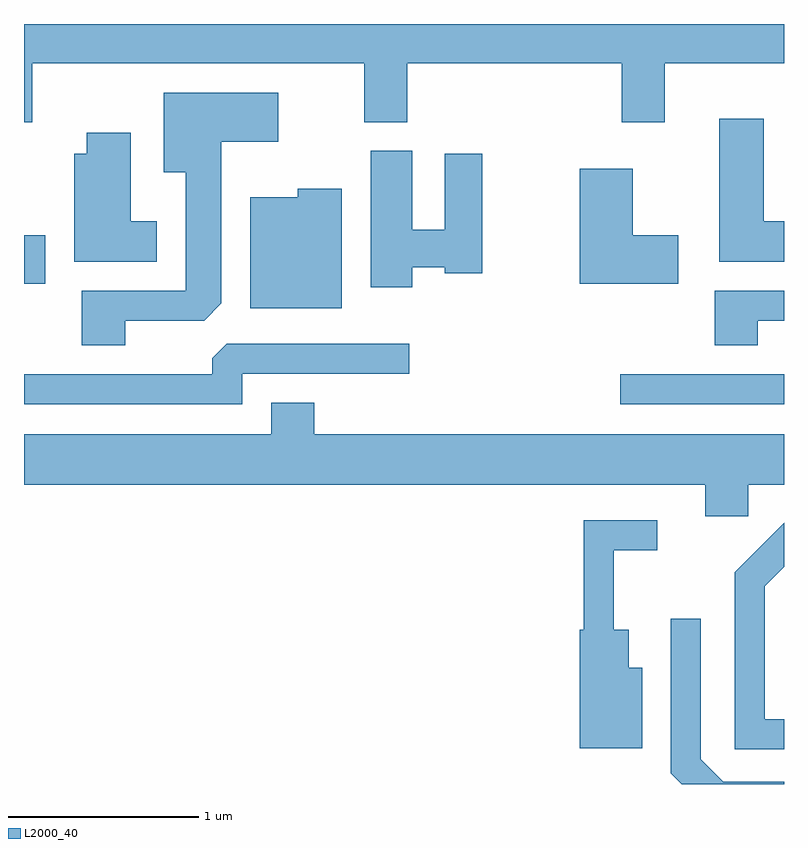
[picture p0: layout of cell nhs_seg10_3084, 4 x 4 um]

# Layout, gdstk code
import gdstk
lib = gdstk.Library(unit=1e-6, precision=1e-09)
def R(c, l, rs):  # rectangles x0, y0, x1, y1
    for r in rs: c.add(gdstk.rectangle(r[:2], r[2:], *l))
def P(c, l, *ps):  # polygons
    for p in ps: c.add(gdstk.Polygon(p, *l))
L2000_40 = (2000, 40)

nhs_seg10_3084 = lib.new_cell('nhs_seg10_3084')
R(nhs_seg10_3084, L2000_40, [(278.748,2156.521,279.611,2156.679), (275.611,2157.156,275.724,2157.409)])
P(nhs_seg10_3084, L2000_40, [(275.654,2158.316),(277.401,2158.316),(277.401,2158.006),(277.629,2158.006),(277.629,2158.316),(278.756,2158.316),(278.756,2158.006),(278.984,2158.006),(278.984,2158.316),(279.611,2158.316),(279.611,2158.522),(275.611,2158.522),(275.611,2158.006),(275.654,2158.006)],
  [(276.144,2156.961),(276.559,2156.961),(276.649,2157.052),(276.649,2157.901),(276.949,2157.901),(276.949,2158.159),(276.346,2158.159),(276.346,2157.741),(276.461,2157.741),(276.461,2157.119),(275.916,2157.119),(275.916,2156.831),(276.144,2156.831)],
  [(279.611,2157.484),(279.504,2157.484),(279.504,2158.024),(279.271,2158.024),(279.271,2157.271),(279.611,2157.271)],
  [(276.309,2157.484),(276.174,2157.484),(276.174,2157.949),(275.941,2157.949),(275.941,2157.839),(275.876,2157.839),(275.876,2157.271),(276.309,2157.271)],
  [(277.654,2157.241),(277.826,2157.241),(277.826,2157.211),(278.024,2157.211),(278.024,2157.839),(277.826,2157.839),(277.826,2157.439),(277.654,2157.439),(277.654,2157.854),(277.436,2157.854),(277.436,2157.136),(277.654,2157.136)],
  [(279.054,2157.409),(278.814,2157.409),(278.814,2157.759),(278.536,2157.759),(278.536,2157.156),(279.054,2157.156)],
  [(277.284,2157.654),(277.051,2157.654),(277.051,2157.609),(276.801,2157.609),(276.801,2157.026),(277.284,2157.026)],
  [(279.474,2156.961),(279.611,2156.961),(279.611,2157.119),(279.246,2157.119),(279.246,2156.831),(279.474,2156.831)],
  [(276.759,2156.681),(277.638,2156.681),(277.638,2156.839),(276.677,2156.839),(276.601,2156.764),(276.601,2156.679),(275.611,2156.679),(275.611,2156.521),(276.759,2156.521)],
  [(279.424,2156.096),(279.611,2156.096),(279.611,2156.364),(277.139,2156.364),(277.139,2156.529),(276.911,2156.529),(276.911,2156.364),(275.611,2156.364),(275.611,2156.096),(279.196,2156.096),(279.196,2155.931),(279.424,2155.931)],
  [(278.864,2155.134),(278.794,2155.134),(278.794,2155.334),(278.714,2155.334),(278.714,2155.751),(278.943,2155.751),(278.943,2155.909),(278.556,2155.909),(278.556,2155.334),(278.536,2155.334),(278.536,2154.711),(278.864,2154.711)],
  [(279.611,2154.864),(279.509,2154.864),(279.509,2155.564),(279.611,2155.666),(279.611,2155.896),(279.351,2155.637),(279.351,2154.706),(279.611,2154.706)],
  [(279.611,2154.534),(279.292,2154.534),(279.174,2154.652),(279.174,2155.393),(279.016,2155.393),(279.016,2154.579),(279.073,2154.522),(279.611,2154.522)])

lib.write_gds('nhs_seg10_3084.gds')
